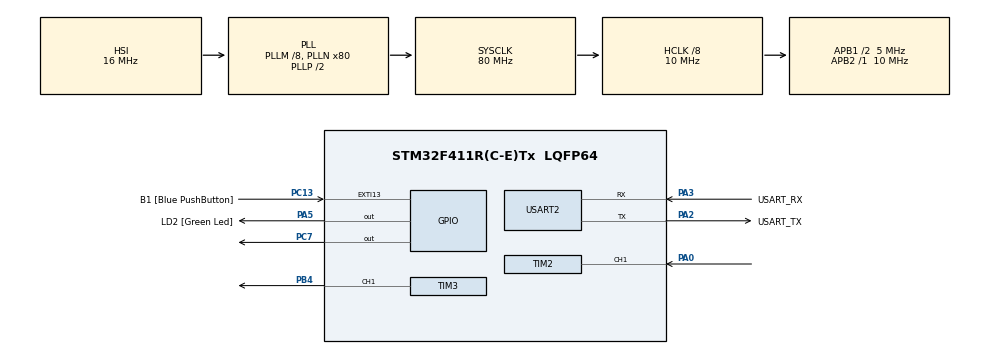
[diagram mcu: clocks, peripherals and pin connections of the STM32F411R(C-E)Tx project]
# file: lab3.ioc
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Dma.Request0=TIM2_CH1
Dma.TIM2_CH1.0.Direction=DMA_PERIPH_TO_MEMORY
Dma.TIM2_CH1.0.FIFOMode=DMA_FIFOMODE_DISABLE
Dma.TIM2_CH1.0.Instance=DMA1_Stream5
Dma.TIM2_CH1.0.MemDataAlignment=DMA_MDATAALIGN_WORD
Dma.TIM2_CH1.0.MemInc=DMA_MINC_ENABLE
Dma.TIM2_CH1.0.Mode=DMA_CIRCULAR
Dma.TIM2_CH1.0.PeriphDataAlignment=DMA_PDATAALIGN_WORD
Dma.TIM2_CH1.0.PeriphInc=DMA_PINC_DISABLE
Dma.TIM2_CH1.0.Priority=DMA_PRIORITY_LOW
Mcu.Family=STM32F4
Mcu.Name=STM32F411R(C-E)Tx
Mcu.Package=LQFP64
NVIC.DMA1_Stream5_IRQn=true\:0\:0\:false\:false\:true\:false\:true\:true
NVIC.PriorityGroup=NVIC_PRIORITYGROUP_0
PA0-WKUP.Signal=S_TIM2_CH1_ETR
PA13.GPIO_Label=TMS
PA13.Mode=Serial_Wire
PA13.Signal=SYS_JTMS-SWDIO
PA14.GPIO_Label=TCK
PA14.Mode=Serial_Wire
PA14.Signal=SYS_JTCK-SWCLK
PA2.GPIO_Label=USART_TX
PA2.Mode=Asynchronous
PA2.Signal=USART2_TX
PA3.GPIO_Label=USART_RX
PA3.Mode=Asynchronous
PA3.Signal=USART2_RX
PA5.GPIO_Label=LD2 [Green Led]
PA5.Signal=GPIO_Output
PB3.GPIO_Label=SWO
PB3.Signal=SYS_JTDO-SWO
PB4.Signal=S_TIM3_CH1
PC13-ANTI_TAMP.GPIO_Label=B1 [Blue PushButton]
PC13-ANTI_TAMP.GPIO_ModeDefaultEXTI=GPIO_MODE_IT_FALLING
PC13-ANTI_TAMP.Signal=GPXTI13
PC14-OSC32_IN.Mode=LSE-External-Oscillator
PC14-OSC32_IN.Signal=RCC_OSC32_IN
PC15-OSC32_OUT.Mode=LSE-External-Oscillator
PC15-OSC32_OUT.Signal=RCC_OSC32_OUT
PC7.Signal=GPIO_Output
PH0\ -\ OSC_IN.Mode=HSE-External-Clock-Source
PH0\ -\ OSC_IN.Signal=RCC_OSC_IN
PH1\ -\ OSC_OUT.Mode=HSE-External-Clock-Source
PH1\ -\ OSC_OUT.Signal=RCC_OSC_OUT
ProjectManager.HeapSize=0x200
ProjectManager.StackSize=0x400
ProjectManager.TargetToolchain=STM32CubeIDE
RCC.48MHZClocksFreq_Value=40000000
RCC.AHBCLKDivider=RCC_SYSCLK_DIV8
RCC.AHBFreq_Value=10000000
RCC.APB1CLKDivider=RCC_HCLK_DIV2
RCC.APB1Freq_Value=5000000
RCC.APB1TimFreq_Value=10000000
RCC.APB2Freq_Value=10000000
RCC.APB2TimFreq_Value=10000000
RCC.CortexFreq_Value=10000000
RCC.FLatency-AdvancedSettings=FLASH_LATENCY_0
RCC.HCLKFreq_Value=10000000
RCC.HSE_VALUE=8000000
RCC.HSI_VALUE=16000000
RCC.PLLM=8
RCC.PLLN=80
RCC.SYSCLKFreq_VALUE=80000000
RCC.SYSCLKSource=RCC_SYSCLKSOURCE_PLLCLK
RCC.VCOOutputFreq_Value=160000000
SH.S_TIM2_CH1_ETR.0=TIM2_CH1,Input_Capture1_from_TI1
SH.S_TIM3_CH1.0=TIM3_CH1,PWM Generation1 CH1
TIM2.Channel-Input_Capture1_from_TI1=TIM_CHANNEL_1
TIM2.Prescaler=9
TIM3.Channel-PWM\ Generation1\ CH1=TIM_CHANNEL_1
TIM3.Period=99
TIM3.Prescaler=9999
TIM3.Pulse-PWM\ Generation1\ CH1=50
USART2.VirtualMode=VM_ASYNC
VP_TIM2_VS_ClockSourceINT.Mode=Internal
VP_TIM3_VS_ClockSourceINT.Mode=Internal
board=NUCLEO-F411RE

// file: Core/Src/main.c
/* USER CODE BEGIN Header */
/**
  ******************************************************************************
  * @file           : main.c
  * @brief          : Main program body
  ******************************************************************************
  * @attention
  *
  * Copyright (c) 2023 STMicroelectronics.
  * All rights reserved.
  *
  * This software is licensed under terms that can be found in the LICENSE file
  * in the root directory of this software component.
  * If no LICENSE file comes with this software, it is provided AS-IS.
  *
  ******************************************************************************
  */
/* USER CODE END Header */
#include "main.h"

/* USER CODE BEGIN Includes */
#define size 30 //papop36
/* USER CODE END Includes */

TIM_HandleTypeDef htim2;
TIM_HandleTypeDef htim3;
DMA_HandleTypeDef hdma_tim2_ch1;

UART_HandleTypeDef huart2;

/* USER CODE BEGIN PV */
int32_t MotorSetDuty = 50;
uint32_t InputCaptureBuffer[size];
int16_t diffspeed = 0;
int MotorControlEnable = 0;
float MotorReadRPM;
float MotorSetRPM;
/* USER CODE END PV */

void SystemClock_Config(void);
static void MX_GPIO_Init(void);
static void MX_DMA_Init(void);
static void MX_USART2_UART_Init(void);
static void MX_TIM2_Init(void);
static void MX_TIM3_Init(void);
/* USER CODE BEGIN PFP */
float RPS_Calc();
void MotorSpeedChange();
/* USER CODE END PFP */

int main(void)
{

  /* MCU Configuration--------------------------------------------------------*/

  /* Reset of all peripherals, Initializes the Flash interface and the Systick. */
    HAL_Init();

  /* Configure the system clock */
  SystemClock_Config();

  /* Initialize all configured peripherals */
  MX_GPIO_Init();
  MX_DMA_Init();
  MX_USART2_UART_Init();
  MX_TIM2_Init();
  MX_TIM3_Init();
  /* USER CODE BEGIN 2 */
  HAL_TIM_Base_Start(&htim3);
  HAL_TIM_PWM_Start(&htim3, TIM_CHANNEL_1);

  HAL_TIM_Base_Start(&htim2);
  HAL_TIM_IC_Start_DMA(&htim2, TIM_CHANNEL_1, InputCaptureBuffer, size);
  /* USER CODE END 2 */

  /* Infinite loop */
  while (1)
  {

    /* USER CODE BEGIN 3 */
	  static uint32_t timestamp = 0;
	  	  if(HAL_GetTick() >= timestamp){
	  		  timestamp = HAL_GetTick() + 500;
	  		  MotorReadRPM = RPS_Calc() * 60;
	  		  if(MotorControlEnable == 0){
	  			  __HAL_TIM_SET_COMPARE(&htim3, TIM_CHANNEL_1, MotorSetDuty);
	  		  }else{
	  			MotorSpeedChange();
	  			__HAL_TIM_SET_COMPARE(&htim3, TIM_CHANNEL_1, MotorSetDuty);
	  		  }

	  	  }
  }
  /* USER CODE END 3 */
}

void SystemClock_Config(void)
{
  RCC_OscInitTypeDef RCC_OscInitStruct = {0};
  RCC_ClkInitTypeDef RCC_ClkInitStruct = {0};

  /** Configure the main internal regulator output voltage
  */
  __HAL_RCC_PWR_CLK_ENABLE();
  __HAL_PWR_VOLTAGESCALING_CONFIG(PWR_REGULATOR_VOLTAGE_SCALE1);

  /** Initializes the RCC Oscillators according to the specified parameters
  * in the RCC_OscInitTypeDef structure.
  */
  RCC_OscInitStruct.OscillatorType = RCC_OSCILLATORTYPE_HSI;
  RCC_OscInitStruct.HSIState = RCC_HSI_ON;
  RCC_OscInitStruct.HSICalibrationValue = RCC_HSICALIBRATION_DEFAULT;
  RCC_OscInitStruct.PLL.PLLState = RCC_PLL_ON;
  RCC_OscInitStruct.PLL.PLLSource = RCC_PLLSOURCE_HSI;
  RCC_OscInitStruct.PLL.PLLM = 8;
  RCC_OscInitStruct.PLL.PLLN = 80;
  RCC_OscInitStruct.PLL.PLLP = RCC_PLLP_DIV2;
  RCC_OscInitStruct.PLL.PLLQ = 4;
  if (HAL_RCC_OscConfig(&RCC_OscInitStruct) != HAL_OK)
  {
    Error_Handler();
  }

  /** Initializes the CPU, AHB and APB buses clocks
  */
  RCC_ClkInitStruct.ClockType = RCC_CLOCKTYPE_HCLK|RCC_CLOCKTYPE_SYSCLK
                              |RCC_CLOCKTYPE_PCLK1|RCC_CLOCKTYPE_PCLK2;
  RCC_ClkInitStruct.SYSCLKSource = RCC_SYSCLKSOURCE_PLLCLK;
  RCC_ClkInitStruct.AHBCLKDivider = RCC_SYSCLK_DIV8;
  RCC_ClkInitStruct.APB1CLKDivider = RCC_HCLK_DIV2;
  RCC_ClkInitStruct.APB2CLKDivider = RCC_HCLK_DIV1;

  if (HAL_RCC_ClockConfig(&RCC_ClkInitStruct, FLASH_LATENCY_0) != HAL_OK)
  {
    Error_Handler();
  }
}

static void MX_TIM2_Init(void)
{

  TIM_ClockConfigTypeDef sClockSourceConfig = {0};
  TIM_MasterConfigTypeDef sMasterConfig = {0};
  TIM_IC_InitTypeDef sConfigIC = {0};

  htim2.Instance = TIM2;
  htim2.Init.Prescaler = 9;
  htim2.Init.CounterMode = TIM_COUNTERMODE_UP;
  htim2.Init.Period = 4294967295;
  htim2.Init.ClockDivision = TIM_CLOCKDIVISION_DIV1;
  htim2.Init.AutoReloadPreload = TIM_AUTORELOAD_PRELOAD_DISABLE;
  if (HAL_TIM_Base_Init(&htim2) != HAL_OK)
  {
    Error_Handler();
  }
  sClockSourceConfig.ClockSource = TIM_CLOCKSOURCE_INTERNAL;
  if (HAL_TIM_ConfigClockSource(&htim2, &sClockSourceConfig) != HAL_OK)
  {
    Error_Handler();
  }
  if (HAL_TIM_IC_Init(&htim2) != HAL_OK)
  {
    Error_Handler();
  }
  sMasterConfig.MasterOutputTrigger = TIM_TRGO_RESET;
  sMasterConfig.MasterSlaveMode = TIM_MASTERSLAVEMODE_DISABLE;
  if (HAL_TIMEx_MasterConfigSynchronization(&htim2, &sMasterConfig) != HAL_OK)
  {
    Error_Handler();
  }
  sConfigIC.ICPolarity = TIM_INPUTCHANNELPOLARITY_RISING;
  sConfigIC.ICSelection = TIM_ICSELECTION_DIRECTTI;
  sConfigIC.ICPrescaler = TIM_ICPSC_DIV1;
  sConfigIC.ICFilter = 0;
  if (HAL_TIM_IC_ConfigChannel(&htim2, &sConfigIC, TIM_CHANNEL_1) != HAL_OK)
  {
    Error_Handler();
  }

}

static void MX_TIM3_Init(void)
{

  TIM_ClockConfigTypeDef sClockSourceConfig = {0};
  TIM_MasterConfigTypeDef sMasterConfig = {0};
  TIM_OC_InitTypeDef sConfigOC = {0};

  htim3.Instance = TIM3;
  htim3.Init.Prescaler = 9999;
  htim3.Init.CounterMode = TIM_COUNTERMODE_UP;
  htim3.Init.Period = 99;
  htim3.Init.ClockDivision = TIM_CLOCKDIVISION_DIV1;
  htim3.Init.AutoReloadPreload = TIM_AUTORELOAD_PRELOAD_DISABLE;
  if (HAL_TIM_Base_Init(&htim3) != HAL_OK)
  {
    Error_Handler();
  }
  sClockSourceConfig.ClockSource = TIM_CLOCKSOURCE_INTERNAL;
  if (HAL_TIM_ConfigClockSource(&htim3, &sClockSourceConfig) != HAL_OK)
  {
    Error_Handler();
  }
  if (HAL_TIM_PWM_Init(&htim3) != HAL_OK)
  {
    Error_Handler();
  }
  sMasterConfig.MasterOutputTrigger = TIM_TRGO_RESET;
  sMasterConfig.MasterSlaveMode = TIM_MASTERSLAVEMODE_DISABLE;
  if (HAL_TIMEx_MasterConfigSynchronization(&htim3, &sMasterConfig) != HAL_OK)
  {
    Error_Handler();
  }
  sConfigOC.OCMode = TIM_OCMODE_PWM1;
  sConfigOC.Pulse = 50;
  sConfigOC.OCPolarity = TIM_OCPOLARITY_HIGH;
  sConfigOC.OCFastMode = TIM_OCFAST_DISABLE;
  if (HAL_TIM_PWM_ConfigChannel(&htim3, &sConfigOC, TIM_CHANNEL_1) != HAL_OK)
  {
    Error_Handler();
  }
  HAL_TIM_MspPostInit(&htim3);

}

static void MX_USART2_UART_Init(void)
{

  huart2.Instance = USART2;
  huart2.Init.BaudRate = 115200;
  huart2.Init.WordLength = UART_WORDLENGTH_8B;
  huart2.Init.StopBits = UART_STOPBITS_1;
  huart2.Init.Parity = UART_PARITY_NONE;
  huart2.Init.Mode = UART_MODE_TX_RX;
  huart2.Init.HwFlowCtl = UART_HWCONTROL_NONE;
  huart2.Init.OverSampling = UART_OVERSAMPLING_16;
  if (HAL_UART_Init(&huart2) != HAL_OK)
  {
    Error_Handler();
  }

}

static void MX_DMA_Init(void)
{

  /* DMA controller clock enable */
  __HAL_RCC_DMA1_CLK_ENABLE();

  /* DMA interrupt init */
  /* DMA1_Stream5_IRQn interrupt configuration */
  HAL_NVIC_SetPriority(DMA1_Stream5_IRQn, 0, 0);
  HAL_NVIC_EnableIRQ(DMA1_Stream5_IRQn);

}

static void MX_GPIO_Init(void)
{
  GPIO_InitTypeDef GPIO_InitStruct = {0};

  /* GPIO Ports Clock Enable */
  __HAL_RCC_GPIOC_CLK_ENABLE();
  __HAL_RCC_GPIOH_CLK_ENABLE();
  __HAL_RCC_GPIOA_CLK_ENABLE();
  __HAL_RCC_GPIOB_CLK_ENABLE();

  /*Configure GPIO pin Output Level */
  HAL_GPIO_WritePin(LD2_GPIO_Port, LD2_Pin, GPIO_PIN_RESET);

  /*Configure GPIO pin Output Level */
  HAL_GPIO_WritePin(GPIOC, GPIO_PIN_7, GPIO_PIN_RESET);

  /*Configure GPIO pin : B1_Pin */
  GPIO_InitStruct.Pin = B1_Pin;
  GPIO_InitStruct.Mode = GPIO_MODE_IT_FALLING;
  GPIO_InitStruct.Pull = GPIO_NOPULL;
  HAL_GPIO_Init(B1_GPIO_Port, &GPIO_InitStruct);

  /*Configure GPIO pin : LD2_Pin */
  GPIO_InitStruct.Pin = LD2_Pin;
  GPIO_InitStruct.Mode = GPIO_MODE_OUTPUT_PP;
  GPIO_InitStruct.Pull = GPIO_NOPULL;
  GPIO_InitStruct.Speed = GPIO_SPEED_FREQ_LOW;
  HAL_GPIO_Init(LD2_GPIO_Port, &GPIO_InitStruct);

  /*Configure GPIO pin : PC7 */
  GPIO_InitStruct.Pin = GPIO_PIN_7;
  GPIO_InitStruct.Mode = GPIO_MODE_OUTPUT_PP;
  GPIO_InitStruct.Pull = GPIO_NOPULL;
  GPIO_InitStruct.Speed = GPIO_SPEED_FREQ_LOW;
  HAL_GPIO_Init(GPIOC, &GPIO_InitStruct);

}

/* USER CODE BEGIN 4 */
float RPS_Calc(){
	uint32_t currentPointer = size - __HAL_DMA_GET_COUNTER((htim2.hdma[1]));
	uint32_t lastValidDMAPointer = (currentPointer-1 + size) % size;
	uint32_t i = (lastValidDMAPointer + size - 20) % size;
	int32_t sumdiff = 0;

	while (i != lastValidDMAPointer){
		uint32_t firstCapture = InputCaptureBuffer[i];
		uint32_t NextCapture = InputCaptureBuffer[(i+1) % size];
		sumdiff += NextCapture - firstCapture;
		i = (i+1) % size;
	}
	return 1.0/(((sumdiff/20.0)/1000000.0)*12*64);
}

void MotorSpeedChange(){
	diffspeed = MotorReadRPM - MotorSetRPM;
//	if (MotorSetDuty >= 100) {
//		MotorSetDuty = 100;
//		if (diffspeed >= 5.0) {
//			MotorSetDuty -= 4;
//		}
//		if (diffspeed >= 2.0 && diffspeed < 5.0) {
//			MotorSetDuty -= 2;
//		}
//		if (diffspeed >= 0.1 && diffspeed < 2.0) {
//			MotorSetDuty -= 1;
//		}
//		if (diffspeed > -0.1 && diffspeed < 0.1) {
//			MotorSetDuty += 0;
//		}
//	} else if (MotorSetDuty <= 0) {
//		MotorSetDuty = 1;
//		if (diffspeed <= -5.0) {
//			MotorSetDuty += 4;
//		}
//		if (diffspeed <= -2.0 && diffspeed > -5.0) {
//			MotorSetDuty += 2;
//		}
//		if (diffspeed <= -0.1 && diffspeed > -2.0) {
//			MotorSetDuty += 1;
//		}
//		if (diffspeed > -0.1 && diffspeed < 0.1)
//			MotorSetDuty += 0;
//	} else {
		if (diffspeed <= -5.0) {
			MotorSetDuty += 4;
		}
		if (diffspeed <= -2.0 && diffspeed > -5.0) {
			MotorSetDuty += 2;
		}
		if (diffspeed <= -0.1 && diffspeed > -2.0) {
			MotorSetDuty += 1;
		}
		if (diffspeed > -0.1 && diffspeed < 0.1)
			MotorSetDuty += 0;
		if (diffspeed >= 5.0) {
			MotorSetDuty -= 4;
		}
		if (diffspeed >= 2.0 && diffspeed < 5.0) {
			MotorSetDuty -= 2;
		}
		if (diffspeed >= 0.1 && diffspeed < 2.0) {
			MotorSetDuty -= 1;
		}

}

/* USER CODE END 4 */

void Error_Handler(void)
{
  __disable_irq();
  while (1)
  {
  }
}
